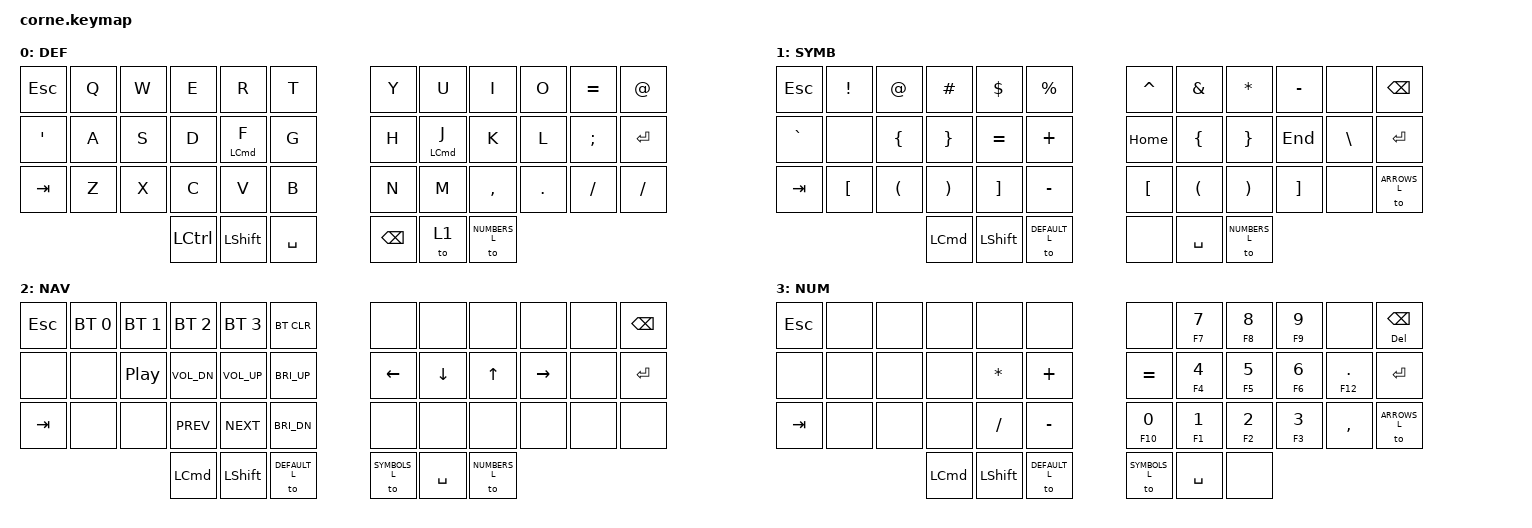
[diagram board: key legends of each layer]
/*
 * Copyright (c) 2020 The ZMK Contributors
 *
 * SPDX-License-Identifier: MIT
 */

#include <behaviors.dtsi>
#include <dt-bindings/zmk/bt.h>
#include <dt-bindings/zmk/keys.h>

#define DEFAULT_L 0
#define SYMBOLS_L 1
#define ARROWS_L  2
#define NUMBERS_L 3

/ {
    behaviors {
        hm: homerow_mods {
            compatible = "zmk,behavior-hold-tap";
            label = "HOMEROW_MODS";
            #binding-cells = <2>;
            tapping-term-ms = <300>;
            quick-tap-ms = <200>;
            flavor = "tap-preferred";
            bindings = <&kp>, <&kp>;
        };
    };

    keymap {
        compatible = "zmk,keymap";

    default_layer {
                label = "DEF";
                bindings = <
    &kp ESC  &kp Q  &kp W  &kp E             &kp R       &kp T        &kp Y     &kp U       &kp I          &kp O    &kp EQUAL  &kp AT
    &kp SQT  &kp A  &kp S  &kp D             &hm LCMD F  &kp G        &kp H     &hm LCMD J  &kp K          &kp L    &kp SEMI   &kp RET
    &kp TAB  &kp Z  &kp X  &kp C             &kp V       &kp B        &kp N     &kp M       &kp COMMA      &kp DOT  &kp SLASH  &kp FSLH
                           &kp LEFT_CONTROL  &kp LSHFT   &kp SPACE    &kp BSPC  &to 1       &to NUMBERS_L
                >;

        };

        symbols_layer {
            label = "SYMB";
            bindings = <
&kp ESC    &kp EXCL          &kp AT                &kp HASH               &kp DLLR           &kp PRCNT        &kp CARET  &kp AMPS   &kp STAR       &kp MINUS  &none     &kp BSPC
&kp GRAVE  &none             &kp LEFT_BRACE        &kp RIGHT_BRACE        &kp EQUAL          &kp PLUS         &kp HOME   &kp LBRC   &kp RBRC       &kp END    &kp BSLH  &kp RET
&kp TAB    &kp LEFT_BRACKET  &kp LEFT_PARENTHESIS  &kp RIGHT_PARENTHESIS  &kp RIGHT_BRACKET  &kp MINUS        &kp LBKT   &kp LPAR   &kp RPAR       &kp RBKT   &none     &to ARROWS_L
                                                   &kp LCMD               &kp LSHFT          &to DEFAULT_L    &none      &kp SPACE  &to NUMBERS_L
            >;
        };

        arrows_layer {
            label = "NAV";
            bindings = <
&kp ESC  &bt BT_SEL 0  &bt BT_SEL 1  &bt BT_SEL 2  &bt BT_SEL 3  &bt BT_CLR       &none          &none      &none          &none      &none  &kp BSPC
&none    &none         &kp C_PP      &kp C_VOL_DN  &kp C_VOL_UP  &kp C_BRI_UP     &kp LEFT       &kp DOWN   &kp UP         &kp RIGHT  &none  &kp RET
&kp TAB  &none         &none         &kp C_PREV    &kp C_NEXT    &kp C_BRI_DN     &none          &none      &none          &none      &none  &none
                                     &kp LCMD      &kp LSHFT     &to DEFAULT_L    &to SYMBOLS_L  &kp SPACE  &to NUMBERS_L
            >;
        };

        numbers_layer {
            label = "NUM";
            bindings = <
&kp ESC  &none  &none  &none     &none      &none            &none          &hm F7 N7  &hm F8 N8  &hm F9 N9  &none        &hm DEL BSPC
&none    &none  &none  &none     &kp STAR   &kp PLUS         &kp EQUAL      &hm F4 N4  &hm F5 N5  &hm F6 N6  &hm F12 DOT  &kp RET
&kp TAB  &none  &none  &none     &kp FSLH   &kp MINUS        &hm F10 N0     &hm F1 N1  &hm F2 N2  &hm F3 N3  &kp COMMA    &to ARROWS_L
                       &kp LCMD  &kp LSHFT  &to DEFAULT_L    &to SYMBOLS_L  &kp SPACE  &none
            >;
        };
    };
};
